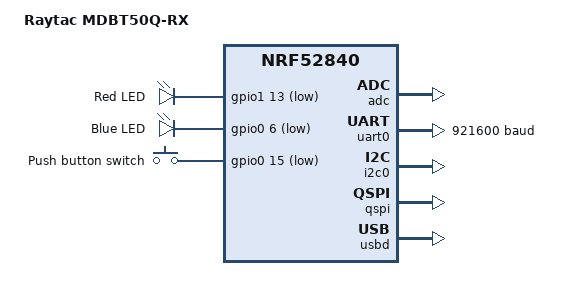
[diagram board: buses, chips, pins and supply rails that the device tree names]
/*
 * Copyright (c) 2020 Tobias Svehagen
 *
 * SPDX-License-Identifier: Apache-2.0
 */

/dts-v1/;
#include <nordic/nrf52840_qiaa.dtsi>
#include "raytac_mdbt50q_rx-pinctrl.dtsi"

/ {
	model = "Raytac MDBT50Q-RX";
	compatible = "seeed,xiao-nrf52840";

	chosen {
		zephyr,console = &uart0;
		zephyr,shell-uart = &uart0;
		zephyr,uart-mcumgr = &uart0;
		zephyr,bt-mon-uart = &uart0;
		zephyr,bt-c2h-uart = &uart0;
		zephyr,sram = &sram0;
		zephyr,flash = &flash0;
		zephyr,code-partition = &code_partition;
	};

	leds {
		compatible = "gpio-leds";
		led0: led_0 {
			gpios = <&gpio1 13 GPIO_ACTIVE_LOW>;
			label = "Red LED";
		};
		led1: led_1 {
			gpios = <&gpio0 6 GPIO_ACTIVE_LOW>;
			label = "Blue LED";
		};
	};

	buttons {
		compatible = "gpio-keys";
		button0: button_0 {
			gpios = <&gpio0 15 (GPIO_PULL_UP | GPIO_ACTIVE_LOW)>;
			label = "Push button switch";
		};
	};

	/* These aliases are provided for compatibility with samples */
	aliases {
		led0 = &led0;
		led1 = &led1;
		sw0 = &button0;
	};
};

&adc {
	status = "okay";
};

&gpiote {
	status = "okay";
};

&gpio0 {
	status = "okay";
};

&gpio1 {
	status = "okay";
};

&uart0 {
	compatible = "nordic,nrf-uart";
	current-speed = <921600>;
	status = "okay";
	pinctrl-0 = <&uart0_default>;
	pinctrl-1 = <&uart0_sleep>;
	pinctrl-names = "default", "sleep";
};

&i2c0 {
	compatible = "nordic,nrf-twi";
	status = "okay";
	pinctrl-0 = <&i2c0_default>;
	pinctrl-1 = <&i2c0_sleep>;
	pinctrl-names = "default", "sleep";
};

&qspi {
	status = "okay";
	pinctrl-0 = <&qspi_default>;
	pinctrl-1 = <&qspi_sleep>;
	pinctrl-names = "default", "sleep";
};

&flash0 {

	partitions {
		compatible = "fixed-partitions";
		#address-cells = <1>;
		#size-cells = <1>;

        sd_partition: partition@0 {
            label = "softdevice";
            reg = <0x00000000 0x00027000>;
        };

        code_partition: partition@27000 {
            label = "code_partition";
            reg = <0x00027000 0x000c5000>;
        };

        storage_partition: partition@ec000 {
            label = "storage";
            reg = <0x000ec000 0x00008000>;
        };

        boot_partition: partition@f4000 {
            label = "adafruit_boot";
            reg = <0x000f4000 0x0000c000>;
        };
	};
};

zephyr_udc0: &usbd {
	compatible = "nordic,nrf-usbd";
	status = "okay";
};
